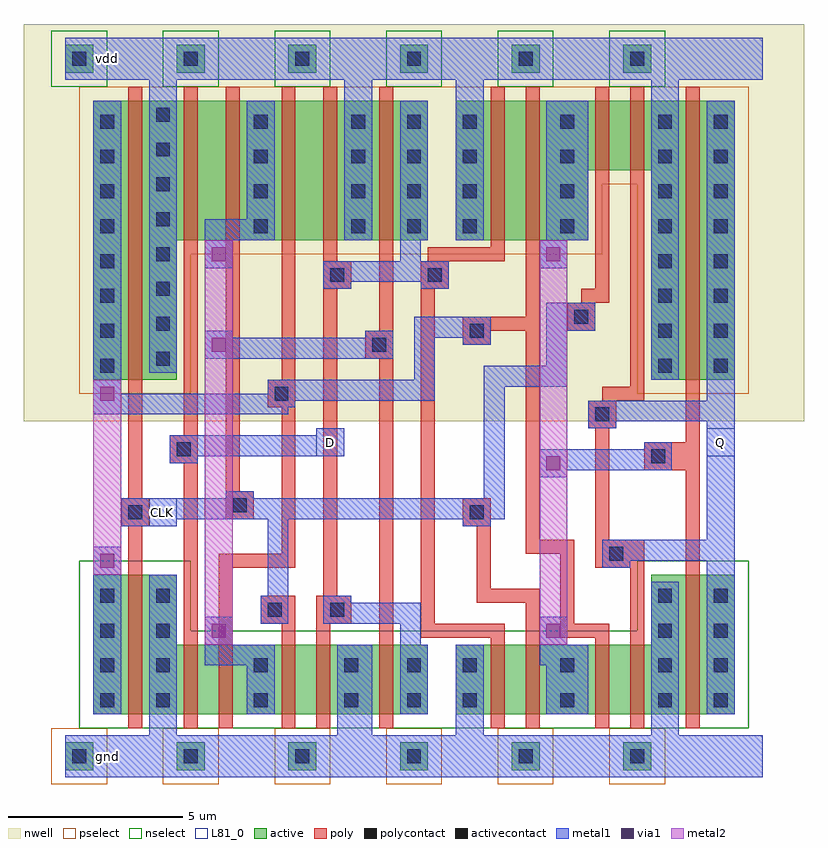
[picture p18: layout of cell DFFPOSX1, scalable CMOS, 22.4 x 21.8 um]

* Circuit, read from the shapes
.subckt DFFPOSX1 CLK D Q gnd vdd
M1 gnd CLK n1 gnd nfet w=4u l=0.4u
M2 n2 D gnd gnd nfet w=2u l=0.4u
M3 n3 n1 n2 gnd nfet w=2u l=0.4u
M4 n4 CLK n3 gnd nfet w=2u l=0.4u
M5 gnd n5 n4 gnd nfet w=2u l=0.4u
M6 n5 n3 gnd gnd nfet w=2u l=0.4u
M7 n6 n5 gnd gnd nfet w=2u l=0.4u
M8 n7 CLK n6 gnd nfet w=2u l=0.4u
M9 n8 n1 n7 gnd nfet w=2u l=0.4u
M10 gnd Q n8 gnd nfet w=2u l=0.4u
M11 Q n7 gnd gnd nfet w=4u l=0.4u
M12 vdd CLK n1 vdd pfet w=8u l=0.4u
M13 n9 D vdd vdd pfet w=4u l=0.4u
M14 n3 CLK n9 vdd pfet w=4u l=0.4u
M15 n10 n1 n3 vdd pfet w=4u l=0.4u
M16 vdd n5 n10 vdd pfet w=4u l=0.4u
M17 n5 n3 vdd vdd pfet w=4u l=0.4u
M18 n11 n5 vdd vdd pfet w=4u l=0.4u
M19 n7 n1 n11 vdd pfet w=4u l=0.4u
M20 n12 CLK n7 vdd pfet w=2u l=0.4u
M21 vdd Q n12 vdd pfet w=2u l=0.4u
M22 Q n7 vdd vdd pfet w=8u l=0.4u
.ends

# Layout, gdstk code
import gdstk
lib = gdstk.Library(unit=1e-6, precision=1e-09)
def R(c, l, rs):  # rectangles x0, y0, x1, y1
    for r in rs: c.add(gdstk.rectangle(r[:2], r[2:], *l))
def A(c, l, x, y, w, h, nx, ny, dx, dy):  # array of equal rectangles
    R(c, l, [(x+i*dx, y+j*dy, x+i*dx+w, y+j*dy+h) for i in range(nx) for j in range(ny)])
nwell = (42, 0)
active = (43, 0)
pselect = (44, 0)
nselect = (45, 0)
poly = (46, 0)
polycontact = (47, 0)
activecontact = (48, 0)
metal1 = (49, 0)
via1 = (50, 0)
metal2 = (51, 0)
L81_0 = (81, 0)

dffposx1 = lib.new_cell('DFFPOSX1')
R(dffposx1, nwell, [(-1.6,9.6,20.8,21)])
A(dffposx1, active, -0.4, -0.4, 0.8, 0.8, 6, 2, 3.2, 20)
R(dffposx1, active, [(0.4,1.2,10,3.2), (10.8,1.2,18.8,3.2), (0.4,3.2,2.8,5.2), (16.4,3.2,18.8,5.2), (0.4,10.8,2.8,14.8), (16.4,10.8,18.8,16.8), (0.4,14.8,10,18.8), (10.8,14.8,14.6,16.8), (10.8,16.8,18.8,18.8)])
A(dffposx1, pselect, -0.8, -0.8, 1.6, 1.6, 6, 1, 3.2, 0)
R(dffposx1, pselect, [(0,10.4,3.2,14.4), (16,10.4,19.2,16.4), (0,14.4,15,16.4), (0,16.4,19.2,19.2)])
A(dffposx1, nselect, -0.8, 19.2, 1.6, 1.6, 6, 1, 3.2, 0)
R(dffposx1, nselect, [(0,0.8,19.2,3.6), (0,3.6,3.2,5.6), (16,3.6,19.2,5.6)])
R(dffposx1, poly, [(1.4,0.8,1.8,6.6), (3,0.8,3.4,8.4), (4,0.8,4.4,5.4), (5.8,0.8,6.2,3.8), (6.8,0.8,7.2,3.8), (8.6,0.8,9,11.4), (11.8,0.8,12.2,3.4), (12.8,0.8,13.2,4.4), (14.8,0.8,15.2,3.4), (15.8,0.8,16.2,5.4), (17.4,0.8,17.8,8.2), (9.8,3.4,12.2,3.8), (13.8,3.4,15.2,3.8), (5.2,3.8,6.2,4.6), (6.8,3.8,7.8,4.6), (9.8,3.8,10.2,13.4), (13.8,3.8,14.2,5.8), (11.4,4.4,13.2,4.8), (7,4.6,7.4,13.4), (11.4,4.8,11.8,6.6), (4,5.4,6.2,5.8), (14.8,5.4,16.2,6.2), (5.8,5.8,6.2,10), (12.8,5.8,14.2,6.2), (12.8,6.2,13.2,12.2), (14.8,6.2,15.2,9.4), (1.2,6.6,2,7.4), (11,6.6,11.8,7.4), (4.2,6.8,5,7.6), (1.4,7.4,1.8,19.2), (4.2,7.6,4.6,19.2), (16.2,8.2,17.8,9), (2.6,8.4,3.4,9.2), (17.4,9,17.8,19.2), (3,9.2,3.4,19.2), (14.6,9.4,15.4,10.2), (5.4,10,6.2,10.8), (15,10.2,16.2,10.6), (15.8,10.6,16.2,19.2), (5.8,10.8,6.2,19.2), (8.2,11.4,9,12.2), (11,11.8,11.8,12.2), (8.6,12.2,9,19.2), (11,12.2,13.2,12.6), (14,12.2,14.8,13), (12.8,12.6,13.2,19.2), (14.4,13,15.2,13.4), (7,13.4,7.8,14.2), (9.8,13.4,10.6,14.2), (14.8,13.4,15.2,19.2), (7,14.2,7.4,19.2), (10,14.2,12.2,14.6), (11.8,14.6,12.2,19.2)])
R(dffposx1, polycontact, [(5.4,4,5.8,4.4), (7.2,4,7.6,4.4), (15.2,5.6,15.6,6), (1.4,6.8,1.8,7.2), (11.2,6.8,11.6,7.2), (4.4,7,4.8,7.4), (16.4,8.4,16.8,8.8), (2.8,8.6,3.2,9), (14.8,9.6,15.2,10), (5.6,10.2,6,10.6), (8.4,11.6,8.8,12), (11.2,12,11.6,12.4), (14.2,12.4,14.6,12.8), (7.2,13.6,7.6,14), (10,13.6,10.4,14)])
A(dffposx1, activecontact, -0.2, -0.2, 0.4, 0.4, 6, 2, 3.2, 20)
A(dffposx1, activecontact, 0.6, 1.4, 0.4, 0.4, 1, 4, 0, 1)
A(dffposx1, activecontact, 2.2, 1.4, 0.4, 0.4, 1, 4, 0, 1)
A(dffposx1, activecontact, 11, 1.4, 0.4, 0.4, 3, 2, 2.8, 1)
A(dffposx1, activecontact, 18.2, 1.4, 0.4, 0.4, 1, 4, 0, 1)
A(dffposx1, activecontact, 0.6, 11, 0.4, 0.4, 1, 8, 0, 1)
A(dffposx1, activecontact, 16.6, 11, 0.4, 0.4, 1, 8, 0, 1)
A(dffposx1, activecontact, 18.2, 11, 0.4, 0.4, 1, 8, 0, 1)
A(dffposx1, activecontact, 2.2, 11.2, 0.4, 0.4, 1, 8, 0, 1)
A(dffposx1, activecontact, 5, 15, 0.4, 0.4, 1, 4, 0, 1)
A(dffposx1, activecontact, 7.8, 15, 0.4, 0.4, 3, 4, 1.6, 1)
A(dffposx1, activecontact, 13.8, 15, 0.4, 0.4, 1, 4, 0, 1)
R(dffposx1, activecontact, [(5,1.4,5.4,1.8), (7.6,1.4,8,1.8), (9.4,1.4,9.8,1.8), (5,2.4,5.4,2.8), (7.6,2.4,8,2.8), (9.4,2.4,9.8,2.8), (16.6,3.4,17,3.8), (16.6,4.4,17,4.8)])
R(dffposx1, metal1, [(-0.4,-0.6,19.6,0.6), (2,0.6,2.8,5.2), (7.4,0.6,8.4,3.2), (10.8,0.6,11.6,3.2), (16.4,0.6,17.2,5), (0.4,1.2,1.2,6), (4.8,1.2,5.6,2.6), (9.2,1.2,10,3.2), (13.4,1.2,14.6,2.6), (18,1.2,18.8,5.6), (3.6,2.6,5.6,3.2), (13.2,2.6,14.6,3.2), (3.6,3.2,4.4,4), (9.2,3.2,9.8,3.8), (13.2,3.2,14,4), (5.2,3.8,6,4.6), (7,3.8,9.8,4.4), (7,4.4,7.8,4.6), (5.4,4.6,6,6.8), (15,5.4,15.8,5.6), (15,5.6,18.8,6.2), (18,6.2,18.8,9.6), (1.2,6.6,2.8,6.8), (11,6.6,11.8,6.8), (1.2,6.8,12.2,7.4), (4.2,7.4,5,7.6), (11.6,7.4,12.2,10.6), (13.2,8,14,8.2), (13.2,8.2,17,8.8), (2.6,8.4,3.4,8.6), (2.6,8.6,7.6,9.2), (16.2,8.8,17,9), (6.8,9.2,7.6,9.4), (14.6,9.4,15.4,9.6), (14.6,9.6,18.8,10.2), (0.4,9.8,6,10), (0.4,10,6.2,10.2), (0.4,10.2,10.2,10.4), (18,10.2,18.8,18.8), (0.4,10.4,1.2,18.8), (5.4,10.4,10.2,10.8), (11.6,10.6,14,11.2), (9.6,10.8,10.2,12), (16.4,10.8,17.2,19.4), (2,11,2.8,19.4), (13.4,11.2,14,12.2), (3.6,11.4,9,12), (11,11.8,11.8,12), (3.6,12,4.4,12.2), (8.2,12,9,12.2), (9.6,12,11.8,12.6), (13.4,12.2,14.8,13), (7,13.4,7.8,13.6), (9.8,13.4,10.6,13.6), (7,13.6,10.6,14.2), (3.6,14,4.4,14.8), (13.2,14,14,14.8), (9.2,14.2,9.8,14.8), (3.6,14.8,5.6,15.4), (7.6,14.8,8.4,19.4), (9.2,14.8,10,18.8), (10.8,14.8,11.6,19.4), (13.4,14.8,14.6,18.8), (4.8,15.4,5.6,18.8), (-0.4,19.4,19.6,20.6)])
R(dffposx1, via1, [(3.8,3.4,4.2,3.8), (13.4,3.4,13.8,3.8), (0.6,5.4,1,5.8), (13.4,8.2,13.8,8.6), (0.6,10.2,1,10.6), (3.8,11.6,4.2,12), (3.8,14.2,4.2,14.6), (13.4,14.2,13.8,14.6)])
R(dffposx1, metal2, [(3.6,3.2,4.4,14.8), (13.2,3.2,14,14.8), (0.4,5.2,1.2,10.8)])
R(dffposx1, L81_0, [(2,6.6,2.8,7.4), (6.8,8.6,7.6,9.4), (18,8.6,18.8,9.4)])
dffposx1.add(gdstk.Label('vdd', (0.8,20), layer=109, texttype=0))
dffposx1.add(gdstk.Label('D', (7.2,9), layer=109, texttype=0))
dffposx1.add(gdstk.Label('gnd', (0.8,0), layer=109, texttype=0))
dffposx1.add(gdstk.Label('Q', (18.4,9), layer=109, texttype=0))
dffposx1.add(gdstk.Label('CLK', (2.4,7), layer=109, texttype=0))

lib.write_gds('DFFPOSX1.gds')
